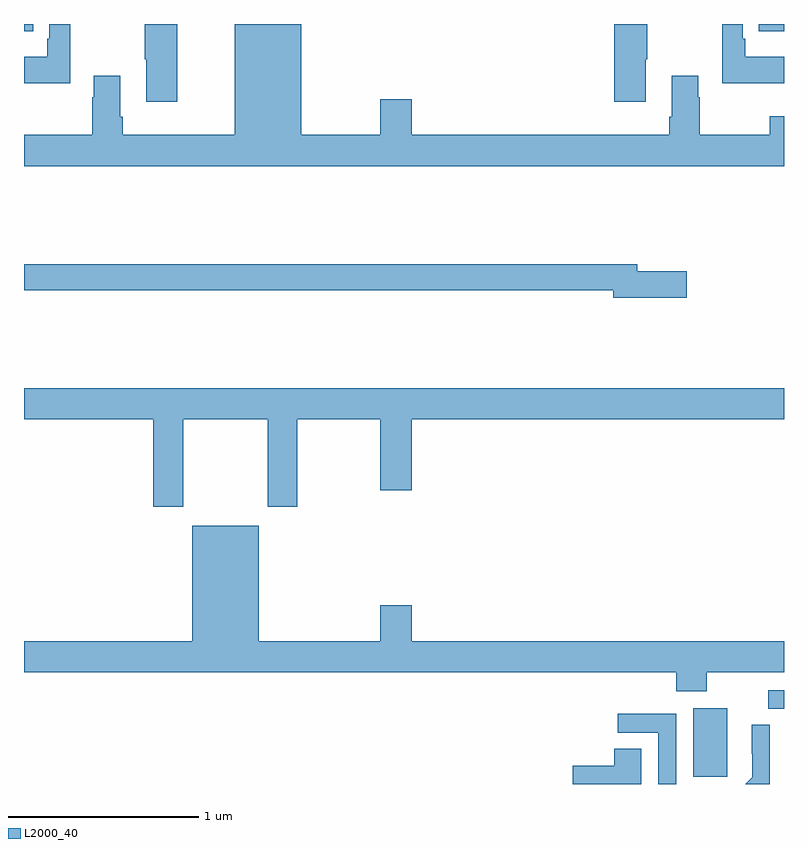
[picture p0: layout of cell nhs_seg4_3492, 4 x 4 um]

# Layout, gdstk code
import gdstk
lib = gdstk.Library(unit=1e-6, precision=1e-09)
def R(c, l, rs):  # rectangles x0, y0, x1, y1
    for r in rs: c.add(gdstk.rectangle(r[:2], r[2:], *l))
def P(c, l, *ps):  # polygons
    for p in ps: c.add(gdstk.Polygon(p, *l))
L2000_40 = (2000, 40)

nhs_seg4_3492 = lib.new_cell('nhs_seg4_3492')
R(nhs_seg4_3492, L2000_40, [(298.523,794.937,298.702,795.298), (298.917,795.297,299,795.393), (295,798.863,295.049,798.9), (298.867,798.863,299,798.9)])
P(nhs_seg4_3492, L2000_40, [(299,798.415),(298.924,798.415),(298.924,798.316),(298.557,798.316),(298.557,798.515),(298.549,798.515),(298.549,798.628),(298.409,798.628),(298.409,798.412),(298.397,798.412),(298.397,798.316),(297.04,798.316),(297.04,798.505),(296.876,798.505),(296.876,798.316),(296.458,798.316),(296.458,798.9),(296.108,798.9),(296.108,798.316),(295.52,798.316),(295.52,798.412),(295.507,798.412),(295.507,798.628),(295.367,798.628),(295.367,798.515),(295.36,798.515),(295.36,798.316),(295,798.316),(295,798.152),(299,798.152)],
  [(295.243,798.9),(295.134,798.9),(295.134,798.823),(295.122,798.823),(295.122,798.727),(295,798.727),(295,798.587),(295.243,798.587)],
  [(295.806,798.9),(295.636,798.9),(295.636,798.715),(295.643,798.715),(295.643,798.492),(295.806,798.492)],
  [(298.273,798.715),(298.281,798.715),(298.281,798.9),(298.106,798.9),(298.106,798.492),(298.273,798.492)],
  [(299,798.727),(298.795,798.727),(298.795,798.823),(298.782,798.823),(298.782,798.9),(298.674,798.9),(298.674,798.587),(299,798.587)],
  [(298.489,797.6),(298.228,797.6),(298.228,797.636),(295,797.636),(295,797.5),(298.1,797.5),(298.1,797.458),(298.489,797.458)],
  [(295.839,796.82),(296.284,796.82),(296.284,796.359),(296.439,796.359),(296.439,796.82),(296.876,796.82),(296.876,796.446),(297.04,796.446),(297.04,796.82),(299,796.82),(299,796.984),(295,796.984),(295,796.82),(295.679,796.82),(295.679,796.359),(295.839,796.359)],
  [(298.593,795.488),(299,795.488),(299,795.652),(297.04,795.652),(297.04,795.841),(296.876,795.841),(296.876,795.652),(296.236,795.652),(296.236,796.258),(295.886,796.258),(295.886,795.652),(295,795.652),(295,795.488),(298.433,795.488),(298.433,795.389),(298.593,795.389)],
  [(298.434,795.27),(298.125,795.27),(298.125,795.171),(298.338,795.171),(298.338,794.9),(298.434,794.9)],
  [(298.926,795.212),(298.83,795.212),(298.83,795.058),(298.832,795.058),(298.832,794.936),(298.796,794.9),(298.926,794.9)],
  [(298.249,795.086),(298.106,795.086),(298.106,794.996),(297.888,794.996),(297.888,794.9),(298.249,794.9)])

lib.write_gds('nhs_seg4_3492.gds')
